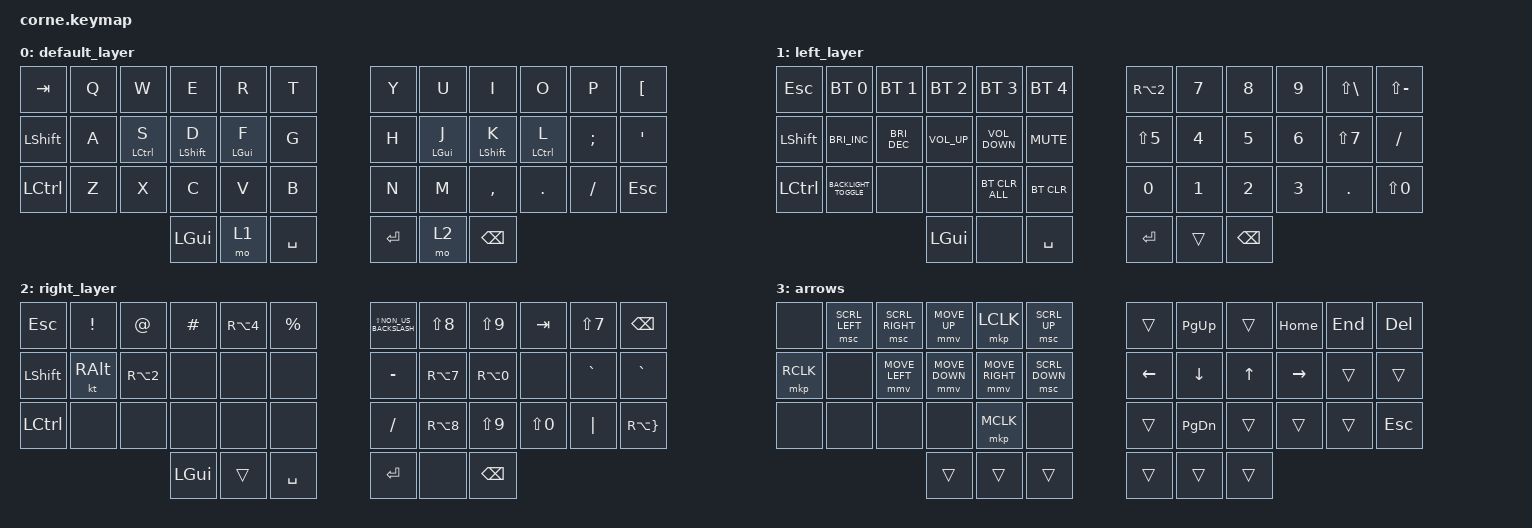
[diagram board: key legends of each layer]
/*
 * Copyright (c) 2020 The ZMK Contributors
 *
 * SPDX-License-Identifier: MIT
 */

#include <behaviors.dtsi>
#include <dt-bindings/zmk/bt.h>
#include <dt-bindings/zmk/keys.h>
#include <dt-bindings/zmk/pointing.h>

/ {
    behaviors {
        hm: homerow_mods {
            compatible = "zmk,behavior-hold-tap";
            #binding-cells = <2>;
            tapping-term-ms = <280>;
            quick-tap-ms = <175>;
            require-prior-idle-ms = <150>;
            flavor = "balanced";
            bindings = <&kp>, <&kp>;

            hold-trigger-key-positions = <
                 0  1  2  3  4  5    6  7  8  9 10 11
                12 13 14 15 16 17   18 19 20 21 22 23
                24 25 26 27 28 29   30 31 32 33 34 35
                              36 37 38   39 40 41
            >;

            hold-trigger-on-release;
        };
    };

    conditional_layers {
        compatible = "zmk,conditional-layers";

        arrows {
            if-layers = <1 2>;
            then-layer = <3>;
        };
    };

    keymap {
        compatible = "zmk,keymap";

        default_layer {
            // ---------------------------------------------------------------------------------------------
            // |  TAB  |  Q  |  S  |  D  |  R  |  T  |   |  Y  |  U  |  I  |  O  |  P  |  Å   |
            // | SHFT  |  A  |  S  |  D  |  F  |  G  |   |  H  |  J  |  K  |  L  |  Ø  |  Æ   |
            // | CTRL  |  Z  |  X  |  C  |  V  |  B  |   |  N  |  M  |  ,  |  .  |  -  | ESC  |
            //                     | GUI | LWR | SPC |   | ENT | RSE | BSPC|

            bindings = <
&kp TAB           &kp Q  &kp W               &kp E             &kp R           &kp T        &kp Y    &kp U           &kp I             &kp O               &kp P     &kp LEFT_BRACKET
&kp LEFT_SHIFT    &kp A  &hm LEFT_CONTROL S  &hm LEFT_SHIFT D  &hm LEFT_GUI F  &kp G        &kp H    &hm LEFT_GUI J  &hm LEFT_SHIFT K  &hm LEFT_CONTROL L  &kp SEMI  &kp SQT
&kp LEFT_CONTROL  &kp Z  &kp X               &kp C             &kp V           &kp B        &kp N    &kp M           &kp COMMA         &kp DOT             &kp FSLH  &kp ESC
                                             &kp LGUI          &mo 1           &kp SPACE    &kp RET  &mo 2           &kp BACKSPACE
            >;
        };

        left_layer {
            // ---------------------------------------------------------------------------------------------
            // |  ESC  | BT0 | BT1 | BT2 | BT3 | BT4 |   |  @  |  7  |  8  |  9  |  *  |  ?   |
            // | SHFT  | BR+ | BR- | VOL+| VOL-| MUTE|   |  %  |  4  |  5  |  6  |  /  |  -   |
            // | CTRL  | BL  |     |     |BTCLR|BTCLA|   |  0  |  1  |  2  |  3  |  .  |  =   |
            //                     | GUI |     | SPC |   | ENT |     | BSPC|

            bindings = <
&kp ESC           &bt BT_SEL 0            &bt BT_SEL 1          &bt BT_SEL 2     &bt BT_SEL 3       &bt BT_SEL 4    &kp RA(NUMBER_2)  &kp N7        &kp N8         &kp N9  &kp LS(BACKSLASH)  &kp LS(MINUS)
&kp LEFT_SHIFT    &kp C_BRIGHTNESS_INC    &kp C_BRIGHTNESS_DEC  &kp C_VOLUME_UP  &kp C_VOLUME_DOWN  &kp K_MUTE      &kp LS(N5)        &kp NUMBER_4  &kp N5         &kp N6  &kp LS(N7)         &kp SLASH
&kp LEFT_CONTROL  &kp C_BACKLIGHT_TOGGLE  &none                 &none            &bt BT_CLR_ALL     &bt BT_CLR      &kp N0            &kp N1        &kp N2         &kp N3  &kp DOT            &kp LS(N0)
                                                                &kp LGUI         &none              &kp SPACE       &kp RET           &trans        &kp BACKSPACE
            >;
        };

        right_layer {
            // ---------------------------------------------------------------------------------------------
            // |  ESC  |  !  |  "  |  #  |  ¤  |  %  |   |  >  |  (  |  )  | TAB |  /  | BSPC |
            // | SHFT  | RAlt|  @  |     |     |     |   |  +  |  {  |  }  |     |  `  |  `   |
            // | CTRL  |     |     |     |     |     |   |  -  |  [  |  )  |  =  |  |  |  ~   |
            //                     | GUI |     | SPC |   | ENT |     | BSPC|

            bindings = <
&kp ESC           &kp EXCL       &kp AT            &kp HASH  &kp RA(NUMBER_4)  &kp PRCNT    &kp LS(NON_US_BACKSLASH)  &kp LS(N8)  &kp LS(N9)     &kp TAB     &kp LS(N7)  &kp BSPC
&kp LEFT_SHIFT    &kt RIGHT_ALT  &kp RA(NUMBER_2)  &none     &none             &none        &kp MINUS                 &kp RA(N7)  &kp RA(N0)     &none       &kp GRAVE   &kp GRAVE
&kp LEFT_CONTROL  &none          &none             &none     &none             &none        &kp SLASH                 &kp RA(N8)  &kp LS(N9)     &kp LS(N0)  &kp PIPE    &kp RA(RIGHT_BRACE)
                                                   &kp LGUI  &trans            &kp SPACE    &kp RET                   &none       &kp BACKSPACE
            >;
        };

        arrows {
            // ---------------------------------------------------------------------------------------------
            // |       |     |     |SCRL↑|     |     |   |     |     |     |     | PGUP| PGDN |
            // |       | M←  | M↓  | M↑  | M→  |     |   | LFT | DWN | UP  | RGT |     |      |
            // |       | LCLK| MCLK| RCLK|SCRL↓|     |   |     |     |     |     | HOME| END  |
            //                     |     |     |     |   |     |     |     |

            bindings = <
&none      &msc SCRL_LEFT  &msc SCRL_RIGHT  &mmv MOVE_UP    &mkp LCLK        &msc SCRL_UP      &trans    &kp PG_UP      &trans  &kp HOME   &kp END  &kp DELETE
&mkp RCLK  &none           &mmv MOVE_LEFT   &mmv MOVE_DOWN  &mmv MOVE_RIGHT  &msc SCRL_DOWN    &kp LEFT  &kp DOWN       &kp UP  &kp RIGHT  &trans   &trans
&none      &none           &none            &none           &mkp MCLK        &none             &trans    &kp PAGE_DOWN  &trans  &trans     &trans   &kp ESC
                                            &trans          &trans           &trans            &trans    &trans         &trans
            >;
        };
    };
};
